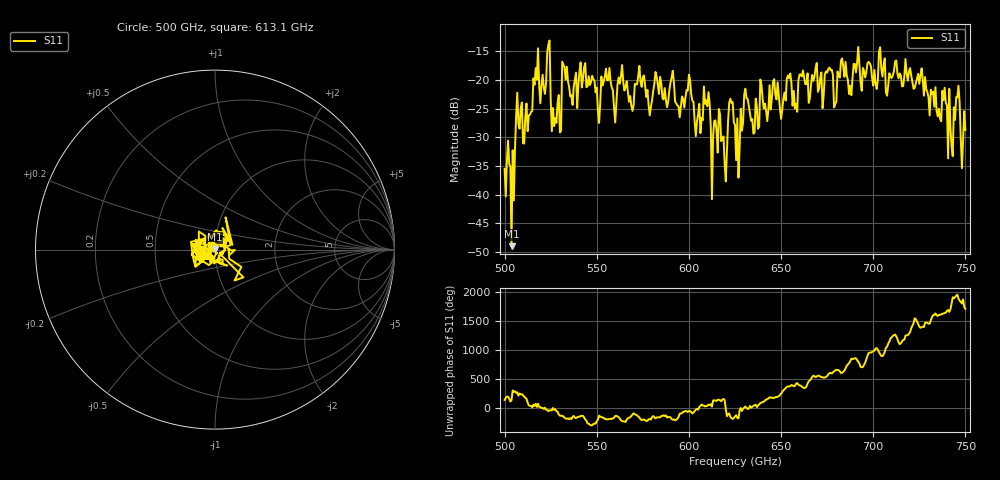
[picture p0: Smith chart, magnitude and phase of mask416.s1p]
!Created with skrf (http://scikit-rf.org).
# GHz S MA R 50.0
!freq magS11 angS11
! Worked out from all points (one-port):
!   401 points, 500 GHz to 750 GHz, reference 50 ohm
!   lowest |S11| = -49.0 dB at 503.8 GHz (marker M1), VSWR 1.01, Z = 49.8 + j0.261 ohm
!   |S11| at or under -10 dB: start of sweep to end of sweep
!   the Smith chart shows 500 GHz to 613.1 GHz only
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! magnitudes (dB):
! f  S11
! 500 GHz  -35.5
! 503.8 GHz  -49.0
! 507.5 GHz  -27.6
! 513.8 GHz  -26.1
! 516.9 GHz  -17.9
! 523.8 GHz  -13.8
! 526.9 GHz  -28.0
! 531.2 GHz  -16.8
! 542.5 GHz  -19.8
! 550.6 GHz  -25.3
! 555.6 GHz  -20.1
! 559.4 GHz  -24.8
! 562.5 GHz  -20.7
! 568.8 GHz  -24.4
! 590.6 GHz  -19.5
! 593.8 GHz  -24.4
! 609.4 GHz  -23.5
! 619.4 GHz  -34.5
! 622.5 GHz  -23.3
! 625 GHz  -27.8
! 656.2 GHz  -24.5
! 676.2 GHz  -17.8
! 680 GHz  -23.7
! 683.8 GHz  -17.7
! 687.5 GHz  -21.0
! 690.6 GHz  -18.7
! 718.8 GHz  -20.1
! 750 GHz  -28.7
